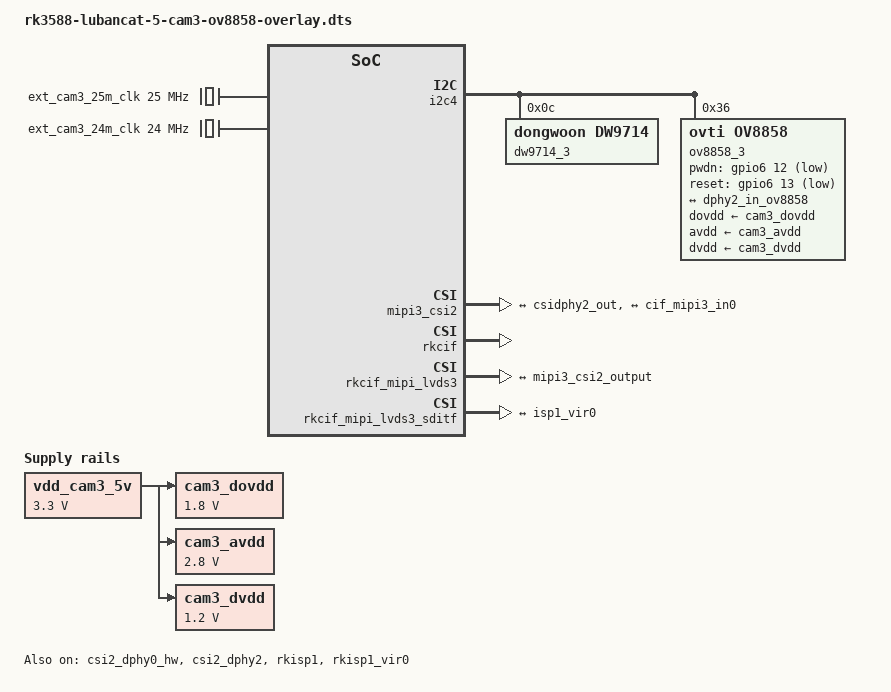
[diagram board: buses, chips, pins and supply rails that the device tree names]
/dts-v1/;
/plugin/;

#include <dt-bindings/usb/pd.h>
#include <dt-bindings/gpio/gpio.h>
#include <dt-bindings/pwm/pwm.h>
#include <dt-bindings/pinctrl/rockchip.h>
#include <dt-bindings/input/rk-input.h>
#include <dt-bindings/display/drm_mipi_dsi.h>
#include <dt-bindings/display/rockchip_vop.h>
#include <dt-bindings/sensor-dev.h>

/ {
	fragment@0 {
		target-path = "/";

		__overlay__ {
			ext_cam3_25m_clk: external-camera-25m-clock {
				compatible = "fixed-clock";
				clock-frequency = <25000000>;
				clock-output-names = "ext_cam_25m_clk";
				#clock-cells = <0>;
			};

			ext_cam3_24m_clk: external-camera-24m-clock {
				compatible = "fixed-clock";
				#clock-cells = <0>;
				clock-frequency = <24000000>;
				clock-output-names = "ext_cam_24m_clk";
			};

			vdd_cam3_5v: vdd-cam3-5v-regulator {
				compatible = "regulator-fixed";
				regulator-name = "vdd_cam_5v";
				regulator-always-on;
				regulator-boot-on;
				regulator-min-microvolt = <3300000>;
				regulator-max-microvolt = <3300000>;
			};

			cam3_dovdd: cam3-dovdd {
				compatible = "regulator-fixed";
				regulator-name = "cam_dovdd";
				regulator-always-on;
				regulator-boot-on;
				regulator-min-microvolt = <1800000>;
				regulator-max-microvolt = <1800000>;
				vin-supply = <&vdd_cam3_5v>;
			};

			cam3_avdd: cam3-avdd {
				compatible = "regulator-fixed";
				regulator-name = "cam_avdd";
				regulator-always-on;
				regulator-boot-on;
				regulator-min-microvolt = <2800000>;
				regulator-max-microvolt = <2800000>;
				vin-supply = <&vdd_cam3_5v>;
			};

			cam3_dvdd: cam3-dvdd {
				compatible = "regulator-fixed";
				regulator-name = "cam_dvdd";
				regulator-always-on;
				regulator-boot-on;
				regulator-min-microvolt = <1200000>;
				regulator-max-microvolt = <1200000>;
				vin-supply = <&vdd_cam3_5v>;
			};
		};
	};

/* Link path: sensor->csi2_dphy2->mipi3_csi2->rkcif_mipi_lvds3--->rkcif_mipi_lvds3_sditf->rkisp1_vir0 */
	fragment@1 {
		target = <&i2c4>;
		__overlay__ {
			status = "okay";
			pinctrl-names = "default";
			pinctrl-0 = <&i2c4m3_xfer>;
			#address-cells = <1>;
			#size-cells = <0>;

			dw9714_3: dw9714-3@c {
				status = "okay";
				compatible = "dongwoon,dw9714";
				reg = <0xc>;
				rockchip,camera-module-index = <0>;
				rockchip,vcm-max-current = <100>;
				rockchip,vcm-start-current = <0>;
				rockchip,vcm-rated-current = <100>;
				rockchip,vcm-step-mode = <0xd>;
				rockchip,vcm-dlc-enable = <0>;
				rockchip,vcm-mclk = <0>;	
				rockchip,vcm-t-src = <0>;
				rockchip,camera-module-facing = "back";
			};

			ov8858_3: ov8858-3@36 {
				compatible = "ovti,ov8858";
				status = "okay";
				reg = <0x36>;
				clocks = <&ext_cam3_24m_clk>;
				clock-names = "xvclk";
				dovdd-supply= <&cam3_dovdd>; /* 1.8v */
				avdd-supply = <&cam3_avdd>;  /* 2.8v */
				dvdd-supply = <&cam3_dvdd>;  /* 1.2v */
				pwdn-gpios = <&gpio6 12 GPIO_ACTIVE_LOW>;
				reset-gpios = <&gpio6 13 GPIO_ACTIVE_LOW>;
				rotation = <180>;

				rockchip,camera-module-index = <2>;
				rockchip,camera-module-facing = "back";
				rockchip,camera-module-name = "HS5885-BNSM1018-V01";
				rockchip,camera-module-lens-name = "default";
				lens-focus = <&dw9714_3>;

				port {
					/* MIPI CSI-2 bus endpoint */
					ov8858_out3: endpoint {
						remote-endpoint = <&dphy2_in_ov8858>;
						clock-lanes = <0>;
						data-lanes = <1 2>;
					};
				};
			};
		};
	};

	fragment@2 {
		target = <&csi2_dphy0_hw>;

		__overlay__ {
			status = "okay";
		};
	};


	fragment@3 {
		target = <&csi2_dphy2>;

		__overlay__ {
			status = "okay";
			ports {
				#address-cells = <1>;
				#size-cells = <0>;

				port@0 {
					reg = <0>;
					#address-cells = <1>;
					#size-cells = <0>;

					dphy2_in_ov8858: endpoint@2 {
						reg = <2>;
						remote-endpoint = <&ov8858_out3>;
						data-lanes = <1 2>;
					};
				};

				port@1 {
					reg = <1>;
					#address-cells = <1>;
					#size-cells = <0>;

					csidphy2_out: endpoint@0 {
						reg = <0>;
						remote-endpoint = <&mipi3_csi2_input>;
					};
				};
			};
		};
	};

	fragment@4 {
		target = <&mipi3_csi2>;

		__overlay__ {
			status = "okay";

			ports {
				#address-cells = <1>;
				#size-cells = <0>;

				port@0 {
					reg = <0>;
					#address-cells = <1>;
					#size-cells = <0>;

					mipi3_csi2_input: endpoint@1 {
						reg = <1>;
						remote-endpoint = <&csidphy2_out>;
					};
				};

				port@1 {
					reg = <1>;
					#address-cells = <1>;
					#size-cells = <0>;

					mipi3_csi2_output: endpoint@0 {
						reg = <0>;
						remote-endpoint = <&cif_mipi3_in0>;
					};
				};
			};
		};
	};

	fragment@5 {
		target = <&rkcif>;

		__overlay__ {
			status = "okay";
		};
	};

	fragment@6 {
		target = <&rkcif_mipi_lvds3>;

		__overlay__ {
			status = "okay";

			port {
				cif_mipi3_in0: endpoint {
					remote-endpoint = <&mipi3_csi2_output>;
				};
			};
		};
	};

	fragment@7 {
		target = <&rkcif_mipi_lvds3_sditf>;

		__overlay__ {
			status = "okay";

			port {
				mipi_lvds3_sditf: endpoint {
					remote-endpoint = <&isp1_vir0>;
				};
			};
		};
	};

	fragment@8 {
		target = <&rkcif_mmu>;

		__overlay__ {
			status = "okay";
		};
	};

	fragment@9 {
		target = <&rkisp1>;

		__overlay__ {
			status = "okay";
		};
	};

	fragment@10 {
		target = <&isp1_mmu>;

		__overlay__ {
			status = "okay";
		};
	};

	fragment@11 {
		target = <&rkisp1_vir0>;

		__overlay__ {
			status = "okay";

			port {
				#address-cells = <1>;
				#size-cells = <0>;

				isp1_vir0: endpoint@0 {
					reg = <0>;
					remote-endpoint = <&mipi_lvds3_sditf>;
				};
			};
		};
	};

};

